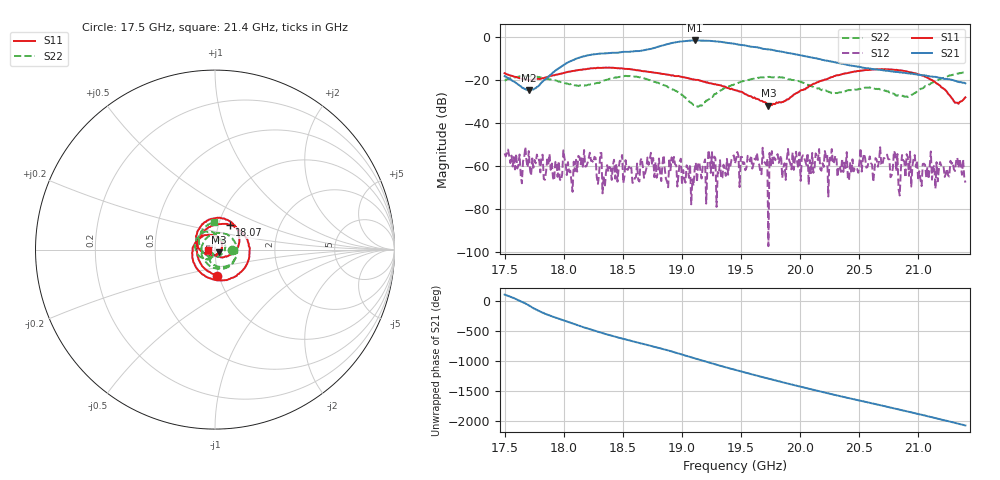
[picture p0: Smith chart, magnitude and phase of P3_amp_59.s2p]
!Created with skrf (http://scikit-rf.org).
# GHz S RI R 50.0
!freq ReS11 ImS11 ReS21 ImS21 ReS12 ImS12 ReS22 ImS22
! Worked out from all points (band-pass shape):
!   401 points, 17.5 GHz to 21.4 GHz, reference 50 ohm
!   highest |S21| = -1.54 dB at 19.11 GHz (marker M1); lowest = -24.7 dB at 17.7 GHz (marker M2)
!   |S21| within 3 dB of the highest: 18.79 GHz to 19.61 GHz (814.4 MHz wide, 4.24 % of centre)
!   lowest |S11| = -31.8 dB at 19.73 GHz (marker M3), VSWR 1.05, Z = 52.1 - j1.58 ohm
!   |S11| at or under -10 dB: start of sweep to end of sweep
!   |S22| runs from -32.5 to -16.2 dB; largest |S21 - S12| = 0.84
!   S11 on the Smith chart (normalised r, x): 17.5 GHz: 0.98, -0.29; 18.07 GHz: 1.13, +0.32; 21.4 GHz: 0.92, -0.00
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17.5  0.00855 -0.1448  -0.0501 0.1131  -0.00197 -0.000149  0.0965 0.000237
17.70475  -0.0998 -0.0137  0.0222 -0.0537  -0.000337 0.00221  0.0942 -0.0795
18.0655  0.0828 0.1383  0.2806 -0.032  0.000443 -3.41e-05  -0.0741 -0.0359
18.15325  0.1406 0.1036  0.1473 -0.3153  0.00102 -0.00123  -0.0736 0.0193
18.3385  0.1914 -0.0393  -0.4173 -0.00194  -3.05e-05 -0.000603  0.0289 0.0927
18.514  0.0983 -0.1566  0.0415 0.4536  0.00043 -0.000399  0.1243 0.00032
18.67975  -0.0347 -0.1572  0.4969 0.0218  -0.000118 -0.000522  0.0532 -0.097
18.8065  -0.1065 -0.0982  0.2939 -0.5329  0.0015 -0.000196  -0.00983 -0.0844
18.904  -0.1258 -0.0337  -0.3043 -0.6504  7.01e-05 -0.000802  -0.0312 -0.0564
18.99175  -0.1182 0.0216  -0.7709 -0.1836  -0.00147 0.000259  -0.0341 -0.0329
19.10875  -0.076 0.0695  -0.467 0.6956  -0.000485 0.000702  -0.018 -0.0189
19.2355  -0.0207 0.0822  0.5276 0.6296  -0.000384 0.00155  -0.0104 -0.0359
19.294  0.000721 0.0784  0.7639 0.2288  8.69e-05 -7.25e-05  -0.0193 -0.0459
19.45  0.0347 0.0478  0.2361 -0.6584  0.00104 0.000494  -0.0652 -0.0481
19.606  0.0373 0.0094  -0.5212 -0.2841  0.000827 -0.000715  -0.1078 -0.00246
19.73275  0.0208 -0.0151  -0.4225 0.3078  1.26e-06 -1.38e-05  -0.1035 0.0583
19.9375  -0.0303 -0.0308  0.3124 0.2706  -5.79e-05 -0.00208  -0.0248 0.0976
20.10325  -0.0788 -0.00627  0.2549 -0.2126  -0.000568 -0.00195  0.0129 0.0699
20.37625  -0.0953 0.1062  -0.2292 -0.0516  -0.000405 0.00114  0.0119 0.0536
20.7565  0.0855 0.1559  0.1503 0.0647  0.00133 0.000565  0.0517 -0.00455
21.3415  -0.0175 -0.0222  -0.0271 0.0874  -0.000804 -0.000437  -0.0391 0.1363
21.4  -0.0399 -0.000446  0.0179 0.0824  -0.000413 -4.41e-05  -0.00671 0.1541
